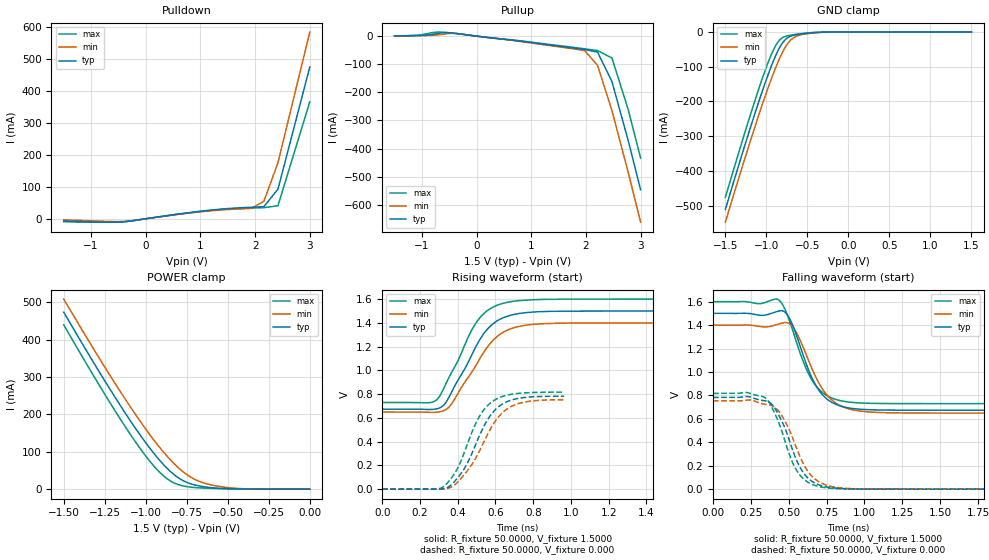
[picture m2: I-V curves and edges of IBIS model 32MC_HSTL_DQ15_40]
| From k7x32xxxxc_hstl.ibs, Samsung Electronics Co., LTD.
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|   Model 32MC_HSTL_DQ15_40
[Model]   32MC_HSTL_DQ15_40
Model_type   I/O
Polarity   Non-Inverting
Enable   Active-High
Vinl = 0.5500V
Vinh = 0.9500V
Vmeas = 0.7500V
Cref =  0.000F
Rref =50.0000
Vref = 0.7500V
C_comp   0.8590pF   0.8410pF   0.8720pF
[Model Spec]
|   Typ   Min   Max
Vinl 0.55   0.5   0.6 |VREF - 0.2V AC spec for timing simulation
Vinh 0.95   0.9   1.0 |VREF + 0.2V AC spec for timing simulation
|[Model Spec]
|   Typ   Min   Max
|Vinl 0.65   0.6   0.7 |VREF - 0.1V DC spec for noise measurement
|Vinh 0.85   0.8   0.9 |VREF + 0.1V DC spec for noise measurement
Vmeas  0.7500V   0.7000V   0.8000V |VDDQ/2
[Temperature Range]   55.0000   0.1100k   0.000
[Voltage Range]   1.5000V   1.4000V   1.6000V
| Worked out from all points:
|   slope of the pulldown table from 0 to 0.225 V, typ, clamps not added: 39 ohm
|   slope of the pullup table from 0 to 0.225 V, typ, clamps not added: 42.9 ohm
|   GND clamp passes 1 mA (typ) near -0.38 V on its own axis
|   POWER clamp passes 1 mA (typ) near -0.47 V on its own axis
|   rising waveform, R_fixture 50.0000, V_fixture 1.5000: 20-80 % time 176ps typ, 187ps min, 167ps max; typ from 0.673 V to 1.5 V
|   rising waveform, R_fixture 50.0000, V_fixture 0.000: 20-80 % time 148ps typ, 164ps min, 137ps max; typ from 0 V to 0.783 V
|   falling waveform, R_fixture 50.0000, V_fixture 1.5000: 20-80 % time 157ps typ, 172ps min, 160ps max; typ from 1.5 V to 0.673 V
|   falling waveform, R_fixture 50.0000, V_fixture 0.000: 20-80 % time 152ps typ, 162ps min, 146ps max; typ from 0.783 V to 0 V
[Pulldown]
| voltage   I(typ)   I(min/slow/weak)   I(max/fast/strong)
-1.5V     -7.1mA     -3.3mA     -9mA
-738mV    -10.47mA   -8.02mA    -10.59mA
-327mV    -8.073mA   -7.364mA   -8.168mA
983mV     23.18mA    21.55mA    22.55mA
1.378V    30.27mA    27.6mA     29.06mA
1.931V    36.07mA    32.34mA    33.76mA
2.161V    38.09mA    54.78mA    34.82mA
2.418V    92.67mA    175.6mA    40.8mA
3V        475.3mA    584.8mA    366.4mA
[Pullup]
| voltage   I(typ)   I(min/slow/weak)   I(max/fast/strong)
-1.5V     1mA        800uA      1.1mA
-1.107V   1.9mA      1.4mA      3mA
-738mV    8.53mA     3.86mA     14.2mA
-603mV    12.19mA    7mA        13.7mA
-401mV    10.04mA    9.693mA    10.14mA
642mV     -13.92mA   -14.96mA   -13.41mA
1.978V    -47.6mA    -51.78mA   -45.25mA
2.213V    -56.85mA   -104.3mA   -51.34mA
2.476V    -161.8mA   -265.3mA   -77.99mA
2.77V     -369.3mA   -482.4mA   -259.3mA
3V        -546.7mA   -662.2mA   -434.1mA
[GND_clamp]
| voltage   I(typ)   I(min/slow/weak)   I(max/fast/strong)
-1.5V     -511.2mA   -547.9mA   -476.1mA
-1.313V   -365mA     -402.8mA   -328.5mA
-1.149V   -241.3mA   -279.9mA   -204.1mA
-1.039V   -162.9mA   -201.3mA   -126.3mA
-956mV    -108.2mA   -145.4mA   -73.89mA
-894mV    -71.84mA   -106.8mA   -42.02mA
-836mV    -43.63mA   -74.25mA   -22.22mA
-768mV    -21.47mA   -43mA      -12.35mA
-682mV    -10.07mA   -18.52mA   -8.022mA
-565mV    -5.078mA   -7.074mA   -4.184mA
-304mV    -305.9uA   -610.7uA   -117.4uA
1.5V      150.9nA    3.231uA    9.728nA
[POWER_clamp]
| voltage   I(typ)   I(min/slow/weak)   I(max/fast/strong)
-1.5V     473.4mA    508.4mA    439.6mA
-1.268V   302.8mA    339.4mA    267mA
-1.088V   179.2mA    216.4mA    142.8mA
-962mV    102.2mA    138.1mA    67.83mA
-905mV    72.14mA    106.3mA    40.93mA
-864mV    53.29mA    85.31mA    26.08mA
-800mV    30.16mA    56.83mA    11.93mA
-740mV    16.52mA    36.13mA    6.215mA
-674mV    8.574mA    20.91mA    3.576mA
-604mV    4.168mA    11.67mA    2.173mA
-413mV    492.5uA    1.316mA    210.6uA
0V        150.9nA    944.5nA    11.77nA
[Ramp]
| variable   typ   min(slow/weak)   max(fast/strong)
dV/dt_r   0.4698/0.1476n   0.4521/0.1646n   0.4902/0.1365n
dV/dt_f   0.4960/0.1573n   0.4505/0.1723n   0.5221/0.1594n
R_load = 50.0000
[Rising Waveform]
R_fixture = 50.0000
V_fixture = 1.5000
V_fixture_min = 1.4000
V_fixture_max = 1.6000
L_fixture = 0.000H
C_fixture = 0.000F
| time   V(typ)   V(min)   V(max)
0s        673.4mV    649.1mV    729.8mV
257ps     670.7mV    646.5mV    729.4mV
291ps     677.3mV    648.3mV    756mV
316ps     694.5mV    655.8mV    816.2mV
363ps     803.1mV    708.8mV    969.7mV
509ps     1.237V     1.076V     1.426V
592ps     1.398V     1.261V     1.536V
688ps     1.467V     1.354V     1.58V
977ps     1.498V     1.398V     1.599V
3.999ns   1.5V       1.4V       1.6V
[Rising Waveform]
R_fixture = 50.0000
V_fixture = 0.000
V_fixture_min = 0.000
V_fixture_max = 0.000
L_fixture = 0.000H
C_fixture = 0.000F
| time   V(typ)   V(min)   V(max)
0s        2.557uV    18.4uV     0V
296ps     425.8uV    455.4uV    2.735mV
364ps     34.61mV    16.96mV    89.27mV
400ps     96.09mV    59.83mV    178.4mV
440ps     187mV      133.4mV    331.7mV
505ps     413.9mV    290.7mV    584.1mV
578ps     631mV      519.8mV    731.7mV
641ps     720.3mV    649.6mV    782.4mV
709ps     760.2mV    713.9mV    804.1mV
964ps     782.8mV    753mV      816.7mV
[Falling Waveform]
R_fixture = 50.0000
V_fixture = 1.5000
V_fixture_min = 1.4000
V_fixture_max = 1.6000
L_fixture = 0.000H
C_fixture = 0.000F
| time   V(typ)   V(min)   V(max)
0s        1.5V       1.4V       1.6V
312ps     1.483V     1.388V     1.583V
418ps     1.514V     1.403V     1.622V
469ps     1.516V     1.421V     1.551V
546ps     1.33V      1.347V     1.275V
661ps     927.8mV    1.005V     914.9mV
755ps     766.1mV    798.8mV    796mV
861ps     702.4mV    701.1mV    750.1mV
1.189ns   674.3mV    651.2mV    730.3mV
3.999ns   673.4mV    649.1mV    729.8mV
[Falling Waveform]
R_fixture = 50.0000
V_fixture = 0.000
V_fixture_min = 0.000
V_fixture_max = 0.000
L_fixture = 0.000H
C_fixture = 0.000F
| time   V(typ)   V(min)   V(max)
0s        783mV      753.6mV    817mV
229ps     790.5mV    760.9mV    823.1mV
335ps     755.4mV    726.4mV    786.6mV
379ps     734.2mV    716.3mV    720.9mV
460ps     564mV      614.3mV    472.3mV
555ps     237.2mV    337.9mV    154.1mV
637ps     82.92mV    133.9mV    51.52mV
730ps     24.72mV    43.06mV    14.82mV
1.046ns   385.3uV    1.021mV    150uV
3.999ns   0V         15.71uV    -1.919uV
